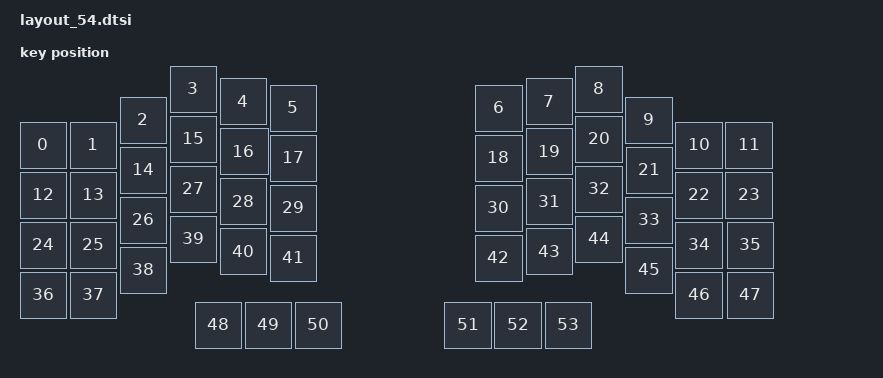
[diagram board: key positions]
#include "position_map.dtsi"
#include <physical_layouts.dtsi>

/ {
    gggw_crosses_54_layout: gggw_crosses_54_layout {
        compatible = "zmk,physical-layout";
        display-name = "54 Key";

        keys  //                     w   h    x    y     rot    rx    ry
            = <&key_physical_attrs 100 100    0  112       0     0     0>
            , <&key_physical_attrs 100 100  100  112       0     0     0>
            , <&key_physical_attrs 100 100  200   62       0     0     0>
            , <&key_physical_attrs 100 100  300    0       0     0     0>
            , <&key_physical_attrs 100 100  400   25       0     0     0>
            , <&key_physical_attrs 100 100  500   38       0     0     0>
            , <&key_physical_attrs 100 100  912   38       0     0     0>
            , <&key_physical_attrs 100 100 1012   25       0     0     0>
            , <&key_physical_attrs 100 100 1112    0       0     0     0>
            , <&key_physical_attrs 100 100 1212   62       0     0     0>
            , <&key_physical_attrs 100 100 1312  112       0     0     0>
            , <&key_physical_attrs 100 100 1412  112       0     0     0>
            , <&key_physical_attrs 100 100    0  212       0     0     0>
            , <&key_physical_attrs 100 100  100  212       0     0     0>
            , <&key_physical_attrs 100 100  200  162       0     0     0>
            , <&key_physical_attrs 100 100  300  100       0     0     0>
            , <&key_physical_attrs 104 100  400  125       0     0     0>
            , <&key_physical_attrs 100 100  500  138       0     0     0>
            , <&key_physical_attrs 100 100  912  138       0     0     0>
            , <&key_physical_attrs 100 100 1012  125       0     0     0>
            , <&key_physical_attrs 100 100 1112  100       0     0     0>
            , <&key_physical_attrs 100 100 1213  162       0     0     0>
            , <&key_physical_attrs 100 100 1312  212       0     0     0>
            , <&key_physical_attrs 100 100 1412  212       0     0     0>
            , <&key_physical_attrs 100 100    0  312       0     0     0>
            , <&key_physical_attrs 100 100  100  312       0     0     0>
            , <&key_physical_attrs 100 100  200  262       0     0     0>
            , <&key_physical_attrs 100 100  300  200       0     0     0>
            , <&key_physical_attrs 100 100  400  225       0     0     0>
            , <&key_physical_attrs 100 100  500  238       0     0     0>
            , <&key_physical_attrs 100 100  912  238       0     0     0>
            , <&key_physical_attrs 100 100 1012  225       0     0     0>
            , <&key_physical_attrs 100 100 1112  200       0     0     0>
            , <&key_physical_attrs 100 100 1212  262       0     0     0>
            , <&key_physical_attrs 100 100 1312  312       0     0     0>
            , <&key_physical_attrs 100 100 1415  312       0     0     0>
            , <&key_physical_attrs 100 100    0  412       0     0     0>
            , <&key_physical_attrs 100 100  100  412       0     0     0>
            , <&key_physical_attrs 100 100  200  362       0     0     0>
            , <&key_physical_attrs 100 100  300  300       0     0     0>
            , <&key_physical_attrs 100 100  400  325       0     0     0>
            , <&key_physical_attrs 100 100  500  338       0     0     0>
            , <&key_physical_attrs 100 100  912  338       0     0     0>
            , <&key_physical_attrs 100 100 1012  325       0     0     0>
            , <&key_physical_attrs 100 100 1112  300       0     0     0>
            , <&key_physical_attrs 100 100 1212  362       0     0     0>
            , <&key_physical_attrs 100 100 1312  412       0     0     0>
            , <&key_physical_attrs 100 100 1415  412       0     0     0>
            , <&key_physical_attrs 100 100  350  472       0     0     0>
            , <&key_physical_attrs 100 100  450  472       0     0     0>
            , <&key_physical_attrs 100 100  550  472       0     0     0>
            , <&key_physical_attrs 100 100  850  472       0     0     0>
            , <&key_physical_attrs 100 100  950  472       0     0     0>
            , <&key_physical_attrs 100 100 1050  472       0     0     0>
            ;
    };
};

&layouts_gggw_crosses_position_map {
    gggw_crosses_fifty_four_posmap: ff {
        physical-layout = <&gggw_crosses_54_layout>;
        positions
            = < 0  1  2  3  4  5  6  7  8  9 10 11>
            , <12 13 14 15 16 17 18 19 20 21 22 23>
            , <24 25 26 27 28 29 30 31 32 33 34 35>
            , <36 37 38 39 40 41 42 43 44 45 46 47>
            , <         48 49 50 51 52 53         >
            ;
    };
};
